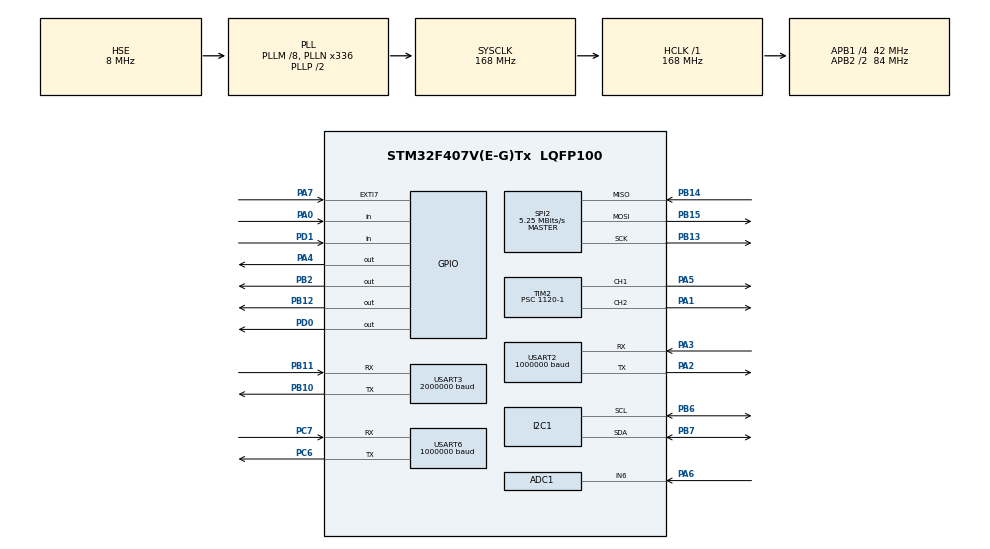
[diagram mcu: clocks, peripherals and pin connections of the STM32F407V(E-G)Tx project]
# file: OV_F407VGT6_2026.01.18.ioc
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ADC1.Channel-0\#ChannelRegularConversion=ADC_CHANNEL_6
ADC1.ContinuousConvMode=ENABLE
ADC1.DMAContinuousRequests=ENABLE
ADC1.NbrOfConversionFlag=1
ADC1.Rank-0\#ChannelRegularConversion=1
ADC1.SamplingTime-0\#ChannelRegularConversion=ADC_SAMPLETIME_84CYCLES
ADC1.master=1
Dma.ADC1.2.Direction=DMA_PERIPH_TO_MEMORY
Dma.ADC1.2.FIFOMode=DMA_FIFOMODE_DISABLE
Dma.ADC1.2.Instance=DMA2_Stream0
Dma.ADC1.2.MemDataAlignment=DMA_MDATAALIGN_HALFWORD
Dma.ADC1.2.MemInc=DMA_MINC_ENABLE
Dma.ADC1.2.Mode=DMA_CIRCULAR
Dma.ADC1.2.PeriphDataAlignment=DMA_PDATAALIGN_HALFWORD
Dma.ADC1.2.PeriphInc=DMA_PINC_DISABLE
Dma.ADC1.2.Priority=DMA_PRIORITY_VERY_HIGH
Dma.I2C1_TX.4.Direction=DMA_MEMORY_TO_PERIPH
Dma.I2C1_TX.4.FIFOMode=DMA_FIFOMODE_DISABLE
Dma.I2C1_TX.4.Instance=DMA1_Stream6
Dma.I2C1_TX.4.MemDataAlignment=DMA_MDATAALIGN_BYTE
Dma.I2C1_TX.4.MemInc=DMA_MINC_ENABLE
Dma.I2C1_TX.4.Mode=DMA_NORMAL
Dma.I2C1_TX.4.PeriphDataAlignment=DMA_PDATAALIGN_BYTE
Dma.I2C1_TX.4.PeriphInc=DMA_PINC_DISABLE
Dma.I2C1_TX.4.Priority=DMA_PRIORITY_LOW
Dma.Request0=USART2_RX
Dma.Request1=USART3_TX
Dma.Request2=ADC1
Dma.Request3=USART6_TX
Dma.Request4=I2C1_TX
Dma.USART2_RX.0.Direction=DMA_PERIPH_TO_MEMORY
Dma.USART2_RX.0.FIFOMode=DMA_FIFOMODE_DISABLE
Dma.USART2_RX.0.Instance=DMA1_Stream5
Dma.USART2_RX.0.MemDataAlignment=DMA_MDATAALIGN_BYTE
Dma.USART2_RX.0.MemInc=DMA_MINC_ENABLE
Dma.USART2_RX.0.Mode=DMA_CIRCULAR
Dma.USART2_RX.0.PeriphDataAlignment=DMA_PDATAALIGN_BYTE
Dma.USART2_RX.0.PeriphInc=DMA_PINC_DISABLE
Dma.USART2_RX.0.Priority=DMA_PRIORITY_LOW
Dma.USART3_TX.1.Direction=DMA_MEMORY_TO_PERIPH
Dma.USART3_TX.1.FIFOMode=DMA_FIFOMODE_DISABLE
Dma.USART3_TX.1.Instance=DMA1_Stream3
Dma.USART3_TX.1.MemDataAlignment=DMA_MDATAALIGN_BYTE
Dma.USART3_TX.1.MemInc=DMA_MINC_ENABLE
Dma.USART3_TX.1.Mode=DMA_NORMAL
Dma.USART3_TX.1.PeriphDataAlignment=DMA_PDATAALIGN_BYTE
Dma.USART3_TX.1.PeriphInc=DMA_PINC_DISABLE
Dma.USART3_TX.1.Priority=DMA_PRIORITY_VERY_HIGH
Dma.USART6_TX.3.Direction=DMA_MEMORY_TO_PERIPH
Dma.USART6_TX.3.FIFOMode=DMA_FIFOMODE_DISABLE
Dma.USART6_TX.3.Instance=DMA2_Stream6
Dma.USART6_TX.3.MemDataAlignment=DMA_MDATAALIGN_BYTE
Dma.USART6_TX.3.MemInc=DMA_MINC_ENABLE
Dma.USART6_TX.3.Mode=DMA_CIRCULAR
Dma.USART6_TX.3.PeriphDataAlignment=DMA_PDATAALIGN_BYTE
Dma.USART6_TX.3.PeriphInc=DMA_PINC_DISABLE
Dma.USART6_TX.3.Priority=DMA_PRIORITY_HIGH
I2C1.I2C_Mode=I2C_Fast
Mcu.Family=STM32F4
Mcu.Name=STM32F407V(E-G)Tx
Mcu.Package=LQFP100
NVIC.DMA1_Stream3_IRQn=true\:0\:0\:false\:false\:true\:false\:true\:true
NVIC.DMA1_Stream5_IRQn=true\:0\:0\:false\:false\:true\:false\:true\:true
NVIC.DMA1_Stream6_IRQn=true\:3\:1\:true\:false\:true\:false\:true\:true
NVIC.DMA2_Stream0_IRQn=true\:0\:0\:false\:false\:true\:false\:true\:true
NVIC.DMA2_Stream6_IRQn=true\:0\:0\:false\:false\:true\:false\:true\:true
NVIC.FLASH_IRQn=true\:0\:0\:false\:false\:true\:true\:true\:true
NVIC.I2C1_ER_IRQn=true\:2\:0\:true\:false\:true\:true\:true\:true
NVIC.I2C1_EV_IRQn=true\:3\:0\:true\:false\:true\:true\:true\:true
NVIC.PriorityGroup=NVIC_PRIORITYGROUP_3
NVIC.TIM1_UP_TIM10_IRQn=true\:2\:1\:true\:false\:true\:true\:true\:true
NVIC.TIM3_IRQn=true\:4\:0\:true\:false\:true\:true\:true\:true
NVIC.TIM4_IRQn=true\:2\:1\:true\:false\:true\:true\:true\:true
NVIC.USART2_IRQn=true\:3\:1\:true\:false\:true\:true\:true\:true
NVIC.USART3_IRQn=true\:3\:0\:true\:false\:true\:true\:true\:true
PA0-WKUP.Signal=GPIO_Input
PA1.Signal=S_TIM2_CH2
PA13.Mode=Serial_Wire
PA13.Signal=SYS_JTMS-SWDIO
PA14.Mode=Serial_Wire
PA14.Signal=SYS_JTCK-SWCLK
PA2.Mode=Asynchronous
PA2.Signal=USART2_TX
PA3.Mode=Asynchronous
PA3.Signal=USART2_RX
PA4.Signal=GPIO_Output
PA5.Signal=S_TIM2_CH1_ETR
PA6.Signal=ADCx_IN6
PA7.GPIO_ModeDefaultEXTI=GPIO_MODE_IT_FALLING
PA7.GPIO_PuPd=GPIO_PULLUP
PA7.Signal=GPXTI7
PB10.Mode=Asynchronous
PB10.Signal=USART3_TX
PB11.Mode=Asynchronous
PB11.Signal=USART3_RX
PB12.PinState=GPIO_PIN_SET
PB12.Signal=GPIO_Output
PB13.Mode=Full_Duplex_Master
PB13.Signal=SPI2_SCK
PB14.Mode=Full_Duplex_Master
PB14.Signal=SPI2_MISO
PB15.Mode=Full_Duplex_Master
PB15.Signal=SPI2_MOSI
PB2.PinState=GPIO_PIN_SET
PB2.Signal=GPIO_Output
PB6.Mode=I2C
PB6.Signal=I2C1_SCL
PB7.Mode=I2C
PB7.Signal=I2C1_SDA
PC14-OSC32_IN.Mode=LSE-External-Oscillator
PC14-OSC32_IN.Signal=RCC_OSC32_IN
PC15-OSC32_OUT.Mode=LSE-External-Oscillator
PC15-OSC32_OUT.Signal=RCC_OSC32_OUT
PC6.Mode=Asynchronous
PC6.Signal=USART6_TX
PC7.Mode=Asynchronous
PC7.Signal=USART6_RX
PD0.PinState=GPIO_PIN_SET
PD0.Signal=GPIO_Output
PD1.Signal=GPIO_Input
PH0-OSC_IN.Mode=HSE-External-Oscillator
PH0-OSC_IN.Signal=RCC_OSC_IN
PH1-OSC_OUT.Mode=HSE-External-Oscillator
PH1-OSC_OUT.Signal=RCC_OSC_OUT
ProjectManager.HeapSize=0x400
ProjectManager.StackSize=0x800
ProjectManager.TargetToolchain=MDK-ARM V5.32
RCC.48MHZClocksFreq_Value=84000000
RCC.AHBFreq_Value=168000000
RCC.APB1CLKDivider=RCC_HCLK_DIV4
RCC.APB1Freq_Value=42000000
RCC.APB1TimFreq_Value=84000000
RCC.APB2CLKDivider=RCC_HCLK_DIV2
RCC.APB2Freq_Value=84000000
RCC.APB2TimFreq_Value=168000000
RCC.CortexFreq_Value=168000000
RCC.HCLKFreq_Value=168000000
RCC.HSE_VALUE=8000000
RCC.HSI_VALUE=16000000
RCC.PLLM=8
RCC.PLLN=336
RCC.PLLSourceVirtual=RCC_PLLSOURCE_HSE
RCC.SYSCLKFreq_VALUE=168000000
RCC.SYSCLKSource=RCC_SYSCLKSOURCE_PLLCLK
RCC.VCOOutputFreq_Value=336000000
SH.ADCx_IN6.0=ADC1_IN6,IN6
SH.S_TIM2_CH1_ETR.0=TIM2_CH1,PWM Generation1 CH1
SH.S_TIM2_CH2.0=TIM2_CH2,PWM Generation2 CH2
SPI2.BaudRatePrescaler=SPI_BAUDRATEPRESCALER_8
SPI2.CLKPhase=SPI_PHASE_2EDGE
SPI2.CLKPolarity=SPI_POLARITY_HIGH
SPI2.CalculateBaudRate=5.25 MBits/s
SPI2.Direction=SPI_DIRECTION_2LINES
SPI2.Mode=SPI_MODE_MASTER
SPI2.VirtualType=VM_MASTER
TIM1.Period=10-1
TIM1.Prescaler=168-1
TIM2.AutoReloadPreload=TIM_AUTORELOAD_PRELOAD_ENABLE
TIM2.Channel-PWM\ Generation1\ CH1=TIM_CHANNEL_1
TIM2.Channel-PWM\ Generation2\ CH2=TIM_CHANNEL_2
TIM2.OCFastMode_PWM-PWM\ Generation1\ CH1=TIM_OCFAST_ENABLE
TIM2.OCFastMode_PWM-PWM\ Generation2\ CH2=TIM_OCFAST_ENABLE
TIM2.Period=50-1
TIM2.Prescaler=1120-1
TIM2.Pulse-PWM\ Generation1\ CH1=25
TIM2.Pulse-PWM\ Generation2\ CH2=25
TIM3.Period=50-1
TIM3.Prescaler=336-1
TIM4.Period=10-1
TIM4.Prescaler=8400-1
TIM5.Period=25-1
TIM5.Prescaler=84-1
USART2.BaudRate=1000000
USART2.VirtualMode=VM_ASYNC
USART3.BaudRate=2000000
USART3.Mode=MODE_TX
USART3.VirtualMode=VM_ASYNC
USART6.BaudRate=1000000
USART6.Mode=MODE_TX
USART6.VirtualMode=VM_ASYNC
VP_TIM1_VS_ClockSourceINT.Mode=Internal
VP_TIM2_VS_ClockSourceINT.Mode=Internal
VP_TIM3_VS_ClockSourceINT.Mode=Internal
VP_TIM4_VS_ClockSourceINT.Mode=Internal
VP_TIM5_VS_ClockSourceINT.Mode=Internal
board=custom

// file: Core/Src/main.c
/* USER CODE BEGIN Header */
/**
 ******************************************************************************
 * @file           : main.c
 * @brief          : Main program body
 ******************************************************************************
 * @attention
 *
 * Copyright (c) 2026 STMicroelectronics.
 * All rights reserved.
 *
 * This software is licensed under terms that can be found in the LICENSE file
 * in the root directory of this software component.
 * If no LICENSE file comes with this software, it is provided AS-IS.
 *
 ******************************************************************************
 */
/* USER CODE END Header */
#include "main.h"
#include "adc.h"
#include "dma.h"
#include "i2c.h"
#include "spi.h"
#include "tim.h"
#include "usart.h"
#include "gpio.h"

/* USER CODE BEGIN Includes */
#include "task1_measurement.h"
#include "task2_calibration.h"
#include "task3_pulse.h"
/* USER CODE END Includes */

/* USER CODE BEGIN PV */
SysWorkMode system_mode = MODE_MEASUREMENT;
/* >>>>>>>>>>>>>>>>>>>>>>>>>>>>>>> DRV8833 <<<<<<<<<<<<<<<<<<<<<<<<<<<<<< */
DRV_HandleTypeDef hdrv1;
/* >>>>>>>>>>>>>>>>>>>>>>>>>>>>>>> LDC1101 <<<<<<<<<<<<<<<<<<<<<<<<<<<<<< */
LDC_HandleTypeDef hldc1;
/* >>>>>>>>>>>>>>>>>>>>>>>>>>>>>>> LED <<<<<<<<<<<<<<<<<<<<<<<<<<<<<< */
LED_Handle_t hled1;
LED_Handle_t hled2;
/* >>>>>>>>>>>>>>>>>>>>>>>>>>>>>>> ADC <<<<<<<<<<<<<<<<<<<<<<<<<<<<<< */
uint16_t adc_buf[2][ADC_BUF_LEN]                  = {0};
uint8_t UART6_tx_packet[2][ADC_UART_PACKET_BYTES] = {0};
volatile uint8_t UART6_sending_index              = UART6_TX_INDEX_NONE;
volatile uint8_t UART6_pending_index              = UART6_TX_INDEX_NONE;
volatile uint8_t UART6_tx_busy                    = 0;
/* USER CODE END PV */

void SystemClock_Config(void);

int main(void) {

    /* MCU Configuration--------------------------------------------------------*/

    /* Reset of all peripherals, Initializes the Flash interface and the Systick. */
    HAL_Init();

    /* Configure the system clock */
    SystemClock_Config();

    /* Initialize all configured peripherals */
    MX_GPIO_Init();
    MX_DMA_Init();
    MX_I2C1_Init();
    MX_SPI2_Init();
    MX_TIM2_Init();
    MX_USART2_UART_Init();
    MX_USART3_UART_Init();
    MX_TIM1_Init();
    MX_TIM3_Init();
    MX_TIM4_Init();
    MX_ADC1_Init();
    MX_USART6_UART_Init();
    MX_TIM5_Init();
    /* USER CODE BEGIN 2 */
    //*------------- Hardware Initialization -------------*//
    buttons_init();

    OLED_Init();
    OLED_Clear();
    OLED_Display_On();

    LED_Init(&hled1, &LED1_hardware);
    LED_Init(&hled2, &LED2_hardware);
    LEDCtl_Bind(LEDCTL_RUN, &hled1);
    LEDCtl_Bind(LEDCTL_ERROR, &hled2);

    HAL_TIM_Base_Start_IT(&htim3); /* 非重要外设统一由 TIM3 管理更新 */

    if (BSP_DRV_Init(&hdrv1, &DRV1_hardware) == DEVICE_OK)
        UART2_Log("INFO", __FUNCTION__, __LINE__, "DRV8833 Initialization Done...");
    if (ldc1101_init(&hldc1, &LDC1_hardware) != DEVICE_OK) {
        UART2_Log("ERROR", __FUNCTION__, __LINE__, "LDC1101 Initialization Failed...");
    } else {
        UART2_Log("INFO", __FUNCTION__, __LINE__, "LDC1101 Initialization Done...");
        if (ldc1101_writeConfig(&hldc1, &LDC_LHR_cfg, LDC_LHR_cfg_size) == DEVICE_OK) {
            UART2_Log("INFO", __FUNCTION__, __LINE__, "LDC1101 Configuration Done...");
            snprintf(UART2_TX_buffer, sizeof(UART2_TX_buffer), "LDC1101 sample rate: %.3f kSPS (RCOUNT=0x%04X)",
                     ldc1101_getLHRSampleRate(&hldc1) / 1000.0f, ldc1101_getLHRRCount(&hldc1));
            UART2_Log("TRACE", __FUNCTION__, __LINE__, UART2_TX_buffer);
        } else {
            UART2_Log("ERROR", __FUNCTION__, __LINE__, "LDC1101 Configuration Failed...");
        }
    }

    HAL_UART_Receive_DMA(&huart2, (uint8_t *)UART2_RX_DMA_buffer[UART2_RX_activeBuffer], MSG_LEN);
    __HAL_UART_ENABLE_IT(&huart2, UART_IT_IDLE);

    //*------------- Service Initialization -------------*//
    Oscillate_Init();
    LHRSample_Init();

    //*------------- Application Initialization -------------*//
    switch (system_mode) {
        case MODE_MEASUREMENT:
            Task1_Measurement_Init();
            break;
        case MODE_CALIBRATION:
            Task2_Calibration_Init();
            break;
        case MODE_PULSE_FEEDBACK:
            Task3_Pulse_Init();
            break;
        default:
            break;
    }

    /* USER CODE END 2 */

    /* Infinite loop */
    /* USER CODE BEGIN WHILE */
    while (1) {
        if (system_mode == MODE_MEASUREMENT) {
            Task1_Measurement_Run();
        } else if (system_mode == MODE_CALIBRATION) {
            Task2_Calibration_Run();
        } else if (system_mode == MODE_PULSE_FEEDBACK) {
            Task3_Pulse_Run();
        }
        if (OLED_GetUpdatePending()) {
            OLED_Update(system_mode);
        }
        if (Button_GetScanPending()) {
            Button_ClearScanPending();
            button_ticks();
        }
        /* UART2 Transmission */
        if (UART2_TX_send) {
            HAL_UART_Transmit(&huart2, (uint8_t *)UART2_TX_buffer, strlen(UART2_TX_buffer), 0x0100);
            UART2_TX_send = false;
            memset(UART2_TX_buffer, 0, MSG_LEN);
        }
    }

    /* USER CODE END WHILE */

}

void SystemClock_Config(void) {
    RCC_OscInitTypeDef RCC_OscInitStruct = {0};
    RCC_ClkInitTypeDef RCC_ClkInitStruct = {0};

    /** Configure the main internal regulator output voltage
     */
    __HAL_RCC_PWR_CLK_ENABLE();
    __HAL_PWR_VOLTAGESCALING_CONFIG(PWR_REGULATOR_VOLTAGE_SCALE1);

    /** Initializes the RCC Oscillators according to the specified parameters
     * in the RCC_OscInitTypeDef structure.
     */
    RCC_OscInitStruct.OscillatorType = RCC_OSCILLATORTYPE_HSE;
    RCC_OscInitStruct.HSEState       = RCC_HSE_ON;
    RCC_OscInitStruct.PLL.PLLState   = RCC_PLL_ON;
    RCC_OscInitStruct.PLL.PLLSource  = RCC_PLLSOURCE_HSE;
    RCC_OscInitStruct.PLL.PLLM       = 8;
    RCC_OscInitStruct.PLL.PLLN       = 336;
    RCC_OscInitStruct.PLL.PLLP       = RCC_PLLP_DIV2;
    RCC_OscInitStruct.PLL.PLLQ       = 4;
    if (HAL_RCC_OscConfig(&RCC_OscInitStruct) != HAL_OK) {
        Error_Handler();
    }

    /** Initializes the CPU, AHB and APB buses clocks
     */
    RCC_ClkInitStruct.ClockType = RCC_CLOCKTYPE_HCLK | RCC_CLOCKTYPE_SYSCLK | RCC_CLOCKTYPE_PCLK1 | RCC_CLOCKTYPE_PCLK2;
    RCC_ClkInitStruct.SYSCLKSource   = RCC_SYSCLKSOURCE_PLLCLK;
    RCC_ClkInitStruct.AHBCLKDivider  = RCC_SYSCLK_DIV1;
    RCC_ClkInitStruct.APB1CLKDivider = RCC_HCLK_DIV4;
    RCC_ClkInitStruct.APB2CLKDivider = RCC_HCLK_DIV2;

    if (HAL_RCC_ClockConfig(&RCC_ClkInitStruct, FLASH_LATENCY_5) != HAL_OK) {
        Error_Handler();
    }
}

void Error_Handler(void) {
    __disable_irq();
    while (1) {
    }
}
